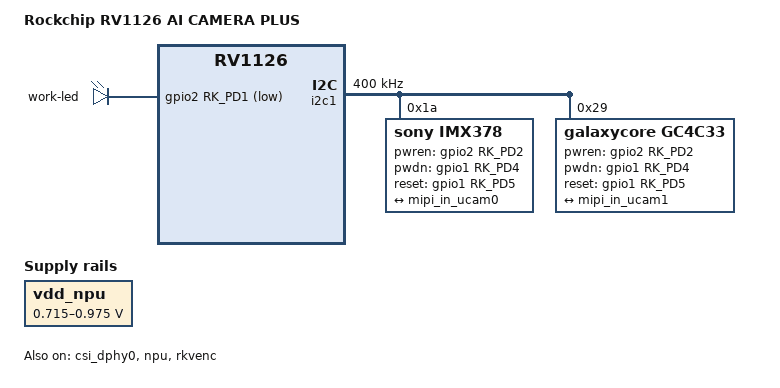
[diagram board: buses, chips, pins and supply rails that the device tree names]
// SPDX-License-Identifier: (GPL-2.0+ OR MIT)
/*
 * Copyright (c) 2019 Fuzhou Rockchip Electronics Co., Ltd.
 */

/dts-v1/;
#include "rv1126.dtsi"
#include "rv1126-ai-cam.dtsi"

/ {
	model = "Rockchip RV1126 AI CAMERA PLUS";
	compatible = "rockchip,rv1126-ai-cam-plus", "rockchip,rv1126";

	chosen {
		bootargs = "earlycon=uart8250,mmio32,0xff570000 console=ttyFIQ0 root=PARTUUID=614e0000-0000 rootfstype=ext4 rootwait snd_aloop.index=7";
	};

	gpio-leds {
		compatible = "gpio-leds";

		work-led {
			gpios = <&gpio2 RK_PD1 GPIO_ACTIVE_LOW>;
			linux,default-trigger = "timer";
		};
	};
};

&csi_dphy0 {
	status = "okay";

	ports {
		port@0 {
			reg = <0>;
			#address-cells = <1>;
			#size-cells = <0>;

			mipi_in_ucam0: endpoint@0 {
				reg = <1>;
				remote-endpoint = <&ucam_out0>;
				data-lanes = <1 2 3 4>;
			};

			mipi_in_ucam1: endpoint@1 {
				reg = <1>;
				remote-endpoint = <&ucam_out1>;
				data-lanes = <1 2>;
			};
		};
	};
};

&i2c1 {
	status = "okay";
	clock-frequency = <400000>;

	imx378: imx378@1a {
		compatible = "sony,imx378";
		reg = <0x1a>;
		clocks = <&cru CLK_MIPICSI_OUT>;
		clock-names = "xvclk";
		power-domains = <&power RV1126_PD_VI>;
		pinctrl-names = "default";
		pinctrl-0 = <&mipicsi_clk0>;
		pwren-gpios= <&gpio2 RK_PD2 GPIO_ACTIVE_HIGH>;
		pwdn-gpios = <&gpio1 RK_PD4 GPIO_ACTIVE_HIGH>;
		reset-gpios = <&gpio1 RK_PD5 GPIO_ACTIVE_HIGH>;
		rockchip,camera-module-index = <1>;
		rockchip,camera-module-facing = "front";
		rockchip,camera-module-name = "A12N01B";
		rockchip,camera-module-lens-name = "48IRC-12M-F18";
		// NO_HDR:0 HDR_X2:5 HDR_X3:6
		rockchip,camera-hdr-mode = <0>;
		port {
			ucam_out0: endpoint {
				remote-endpoint = <&mipi_in_ucam0>;
				data-lanes = <1 2 3 4>;
			};
		};
	};

	gc4c33: gc4c33@29 {
		compatible = "galaxycore,gc4c33";
		reg = <0x29>;
		clocks = <&cru CLK_MIPICSI_OUT>;
		clock-names = "xvclk";
		power-domains = <&power RV1126_PD_VI>;
		pinctrl-names = "rockchip,camera_default";
		pinctrl-0 = <&mipicsi_clk0>;
		pwren-gpios= <&gpio2 RK_PD2 GPIO_ACTIVE_HIGH>;
		pwdn-gpios = <&gpio1 RK_PD4 GPIO_ACTIVE_HIGH>;
		reset-gpios = <&gpio1 RK_PD5 GPIO_ACTIVE_HIGH>;
		rockchip,camera-module-index = <1>;
		rockchip,camera-module-facing = "front";
		rockchip,camera-module-name = "PCORW0009A";
		rockchip,camera-module-lens-name = "40IRC-4M";
		// NO_HDR:0 HDR_X2:5 HDR_X3:6
		rockchip,camera-hdr-mode = <0>;
		port {
			ucam_out1: endpoint {
				remote-endpoint = <&mipi_in_ucam1>;
				data-lanes = <1 2>;
			};
		};
	};

};

&npu {
	npu-supply = <&vdd_npu>;
	status = "okay";
};

&rkvenc {
	venc-supply = <&vdd_npu>;
	status = "okay";
};

&vdd_npu {
	regulator-min-microvolt = <715000>;
	regulator-max-microvolt = <975000>;
	regulator-init-microvolt = <825000>;
	status = "okay";
};
